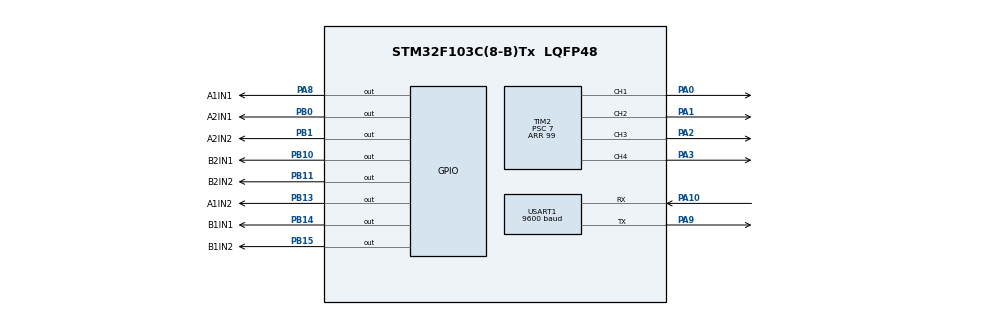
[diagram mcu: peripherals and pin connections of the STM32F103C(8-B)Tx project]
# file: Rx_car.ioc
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Mcu.Family=STM32F1
Mcu.Name=STM32F103C(8-B)Tx
Mcu.Package=LQFP48
NVIC.PriorityGroup=NVIC_PRIORITYGROUP_4
PA0-WKUP.Signal=S_TIM2_CH1_ETR
PA1.Signal=S_TIM2_CH2
PA10.Mode=Asynchronous
PA10.Signal=USART1_RX
PA13.Mode=Serial_Wire
PA13.Signal=SYS_JTMS-SWDIO
PA14.Mode=Serial_Wire
PA14.Signal=SYS_JTCK-SWCLK
PA2.Signal=S_TIM2_CH3
PA3.Signal=S_TIM2_CH4
PA8.GPIO_Label=A1IN1
PA8.Signal=GPIO_Output
PA9.Mode=Asynchronous
PA9.Signal=USART1_TX
PB0.GPIO_Label=A2IN1
PB0.Signal=GPIO_Output
PB1.GPIO_Label=A2IN2
PB1.Signal=GPIO_Output
PB10.GPIO_Label=B2IN1
PB10.Signal=GPIO_Output
PB11.GPIO_Label=B2IN2
PB11.Signal=GPIO_Output
PB13.GPIO_Label=A1IN2
PB13.Signal=GPIO_Output
PB14.GPIO_Label=B1IN1
PB14.Signal=GPIO_Output
PB15.GPIO_Label=B1IN2
PB15.Signal=GPIO_Output
ProjectManager.HeapSize=0x200
ProjectManager.StackSize=0x400
ProjectManager.TargetToolchain=STM32CubeIDE
RCC.APB1Freq_Value=8000000
RCC.APB2Freq_Value=8000000
SH.S_TIM2_CH1_ETR.0=TIM2_CH1,PWM Generation1 CH1
SH.S_TIM2_CH2.0=TIM2_CH2,PWM Generation2 CH2
SH.S_TIM2_CH3.0=TIM2_CH3,PWM Generation3 CH3
SH.S_TIM2_CH4.0=TIM2_CH4,PWM Generation4 CH4
TIM2.Channel-PWM\ Generation1\ CH1=TIM_CHANNEL_1
TIM2.Channel-PWM\ Generation2\ CH2=TIM_CHANNEL_2
TIM2.Channel-PWM\ Generation3\ CH3=TIM_CHANNEL_3
TIM2.Channel-PWM\ Generation4\ CH4=TIM_CHANNEL_4
TIM2.Period=99
TIM2.Prescaler=7
USART1.BaudRate=9600
USART1.VirtualMode=VM_ASYNC
board=custom

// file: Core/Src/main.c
/* USER CODE BEGIN Header */
/**
  ******************************************************************************
  * @file           : main.c
  * @brief          : Main program body
  ******************************************************************************
  * @attention
  *
  * Copyright (c) 2026 STMicroelectronics.
  * All rights reserved.
  *
  * This software is licensed under terms that can be found in the LICENSE file
  * in the root directory of this software component.
  * If no LICENSE file comes with this software, it is provided AS-IS.
  *
  ******************************************************************************
  */
/* USER CODE END Header */
#include "main.h"

/* USER CODE BEGIN Includes */
#include "hc05.h"
#include "protocol.h"
#include "motor.h"
/* USER CODE END Includes */

TIM_HandleTypeDef htim2;

UART_HandleTypeDef huart1;

/* USER CODE BEGIN PV */
HC05_t hc05;
ProtocolRx_t protocol_rx;
Motor_t motor;

volatile int16_t received_forward = 0;
volatile int16_t received_turn = 0;
volatile CarDirection_t current_direction = CAR_STOP;
volatile uint32_t valid_packet_count = 0;
volatile uint32_t last_packet_tick = 0;
/* USER CODE END PV */

void SystemClock_Config(void);
static void MX_GPIO_Init(void);
static void MX_TIM2_Init(void);
static void MX_USART1_UART_Init(void);

int main(void)
{

  /* MCU Configuration--------------------------------------------------------*/

  /* Reset of all peripherals, Initializes the Flash interface and the Systick. */
  HAL_Init();

  /* Configure the system clock */
  SystemClock_Config();

  /* Initialize all configured peripherals */
  MX_GPIO_Init();
  MX_TIM2_Init();
  MX_USART1_UART_Init();
  /* USER CODE BEGIN 2 */
  HC05_Init(&hc05, &huart1);
  ProtocolRx_Init(&protocol_rx);

  if (Motor_Init(&motor, &htim2) != HAL_OK)
  {
    Error_Handler();
  }

  /* STBY of both TB6612FNG drivers is tied directly to 3.3 V in hardware. */
  last_packet_tick = HAL_GetTick();
  /* USER CODE END 2 */

  /* Infinite loop */
  while (1)
  {

    /* USER CODE BEGIN 3 */
    uint8_t rx_byte;

    if (HC05_Receive(&hc05,
                     &rx_byte,
                     1,
                     10) == HAL_OK)
    {
      int16_t forward;
      int16_t turn;

      if (ProtocolRx_PushByte(&protocol_rx,
                              rx_byte,
                              &forward,
                              &turn))
      {
        received_forward = forward;
        received_turn = turn;
        current_direction = Motor_GetDirection(received_forward, received_turn);

        valid_packet_count++;
        last_packet_tick = HAL_GetTick();

        Motor_SetControl(&motor,
                         received_forward,
                         received_turn);
      }
    }

    /* Failsafe: stop the car if Bluetooth packets disappear for >300 ms. */
    if ((HAL_GetTick() - last_packet_tick) > 300U)
    {
      Motor_Stop(&motor);
      received_forward = 0;
      received_turn = 0;
      current_direction = CAR_STOP;
    }
  }
  /* USER CODE END 3 */
}

void SystemClock_Config(void)
{
  RCC_OscInitTypeDef RCC_OscInitStruct = {0};
  RCC_ClkInitTypeDef RCC_ClkInitStruct = {0};

  /** Initializes the RCC Oscillators according to the specified parameters
  * in the RCC_OscInitTypeDef structure.
  */
  RCC_OscInitStruct.OscillatorType = RCC_OSCILLATORTYPE_HSI;
  RCC_OscInitStruct.HSIState = RCC_HSI_ON;
  RCC_OscInitStruct.HSICalibrationValue = RCC_HSICALIBRATION_DEFAULT;
  RCC_OscInitStruct.PLL.PLLState = RCC_PLL_NONE;
  if (HAL_RCC_OscConfig(&RCC_OscInitStruct) != HAL_OK)
  {
    Error_Handler();
  }

  /** Initializes the CPU, AHB and APB buses clocks
  */
  RCC_ClkInitStruct.ClockType = RCC_CLOCKTYPE_HCLK|RCC_CLOCKTYPE_SYSCLK
                              |RCC_CLOCKTYPE_PCLK1|RCC_CLOCKTYPE_PCLK2;
  RCC_ClkInitStruct.SYSCLKSource = RCC_SYSCLKSOURCE_HSI;
  RCC_ClkInitStruct.AHBCLKDivider = RCC_SYSCLK_DIV1;
  RCC_ClkInitStruct.APB1CLKDivider = RCC_HCLK_DIV1;
  RCC_ClkInitStruct.APB2CLKDivider = RCC_HCLK_DIV1;

  if (HAL_RCC_ClockConfig(&RCC_ClkInitStruct, FLASH_LATENCY_0) != HAL_OK)
  {
    Error_Handler();
  }
}

static void MX_TIM2_Init(void)
{

  TIM_MasterConfigTypeDef sMasterConfig = {0};
  TIM_OC_InitTypeDef sConfigOC = {0};

  htim2.Instance = TIM2;
  htim2.Init.Prescaler = 7;
  htim2.Init.CounterMode = TIM_COUNTERMODE_UP;
  htim2.Init.Period = 99;
  htim2.Init.ClockDivision = TIM_CLOCKDIVISION_DIV1;
  htim2.Init.AutoReloadPreload = TIM_AUTORELOAD_PRELOAD_DISABLE;
  if (HAL_TIM_PWM_Init(&htim2) != HAL_OK)
  {
    Error_Handler();
  }
  sMasterConfig.MasterOutputTrigger = TIM_TRGO_RESET;
  sMasterConfig.MasterSlaveMode = TIM_MASTERSLAVEMODE_DISABLE;
  if (HAL_TIMEx_MasterConfigSynchronization(&htim2, &sMasterConfig) != HAL_OK)
  {
    Error_Handler();
  }
  sConfigOC.OCMode = TIM_OCMODE_PWM1;
  sConfigOC.Pulse = 0;
  sConfigOC.OCPolarity = TIM_OCPOLARITY_HIGH;
  sConfigOC.OCFastMode = TIM_OCFAST_DISABLE;
  if (HAL_TIM_PWM_ConfigChannel(&htim2, &sConfigOC, TIM_CHANNEL_1) != HAL_OK)
  {
    Error_Handler();
  }
  if (HAL_TIM_PWM_ConfigChannel(&htim2, &sConfigOC, TIM_CHANNEL_2) != HAL_OK)
  {
    Error_Handler();
  }
  if (HAL_TIM_PWM_ConfigChannel(&htim2, &sConfigOC, TIM_CHANNEL_3) != HAL_OK)
  {
    Error_Handler();
  }
  if (HAL_TIM_PWM_ConfigChannel(&htim2, &sConfigOC, TIM_CHANNEL_4) != HAL_OK)
  {
    Error_Handler();
  }
  HAL_TIM_MspPostInit(&htim2);

}

static void MX_USART1_UART_Init(void)
{

  huart1.Instance = USART1;
  huart1.Init.BaudRate = 9600;
  huart1.Init.WordLength = UART_WORDLENGTH_8B;
  huart1.Init.StopBits = UART_STOPBITS_1;
  huart1.Init.Parity = UART_PARITY_NONE;
  huart1.Init.Mode = UART_MODE_TX_RX;
  huart1.Init.HwFlowCtl = UART_HWCONTROL_NONE;
  huart1.Init.OverSampling = UART_OVERSAMPLING_16;
  if (HAL_UART_Init(&huart1) != HAL_OK)
  {
    Error_Handler();
  }

}

static void MX_GPIO_Init(void)
{
  GPIO_InitTypeDef GPIO_InitStruct = {0};

  /* GPIO Ports Clock Enable */
  __HAL_RCC_GPIOA_CLK_ENABLE();
  __HAL_RCC_GPIOB_CLK_ENABLE();

  /*Configure GPIO pin Output Level */
  HAL_GPIO_WritePin(GPIOB, A2IN1_Pin|A2IN2_Pin|B2IN1_Pin|B2IN2_Pin
                          |A1IN2_Pin|B1IN1_Pin|B1IN2_Pin, GPIO_PIN_RESET);

  /*Configure GPIO pin Output Level */
  HAL_GPIO_WritePin(A1IN1_GPIO_Port, A1IN1_Pin, GPIO_PIN_RESET);

  /*Configure GPIO pins : A2IN1_Pin A2IN2_Pin B2IN1_Pin B2IN2_Pin
                           A1IN2_Pin B1IN1_Pin B1IN2_Pin */
  GPIO_InitStruct.Pin = A2IN1_Pin|A2IN2_Pin|B2IN1_Pin|B2IN2_Pin
                          |A1IN2_Pin|B1IN1_Pin|B1IN2_Pin;
  GPIO_InitStruct.Mode = GPIO_MODE_OUTPUT_PP;
  GPIO_InitStruct.Pull = GPIO_NOPULL;
  GPIO_InitStruct.Speed = GPIO_SPEED_FREQ_LOW;
  HAL_GPIO_Init(GPIOB, &GPIO_InitStruct);

  /*Configure GPIO pin : A1IN1_Pin */
  GPIO_InitStruct.Pin = A1IN1_Pin;
  GPIO_InitStruct.Mode = GPIO_MODE_OUTPUT_PP;
  GPIO_InitStruct.Pull = GPIO_NOPULL;
  GPIO_InitStruct.Speed = GPIO_SPEED_FREQ_LOW;
  HAL_GPIO_Init(A1IN1_GPIO_Port, &GPIO_InitStruct);

}

void Error_Handler(void)
{
  __disable_irq();
  while (1)
  {
  }
}
